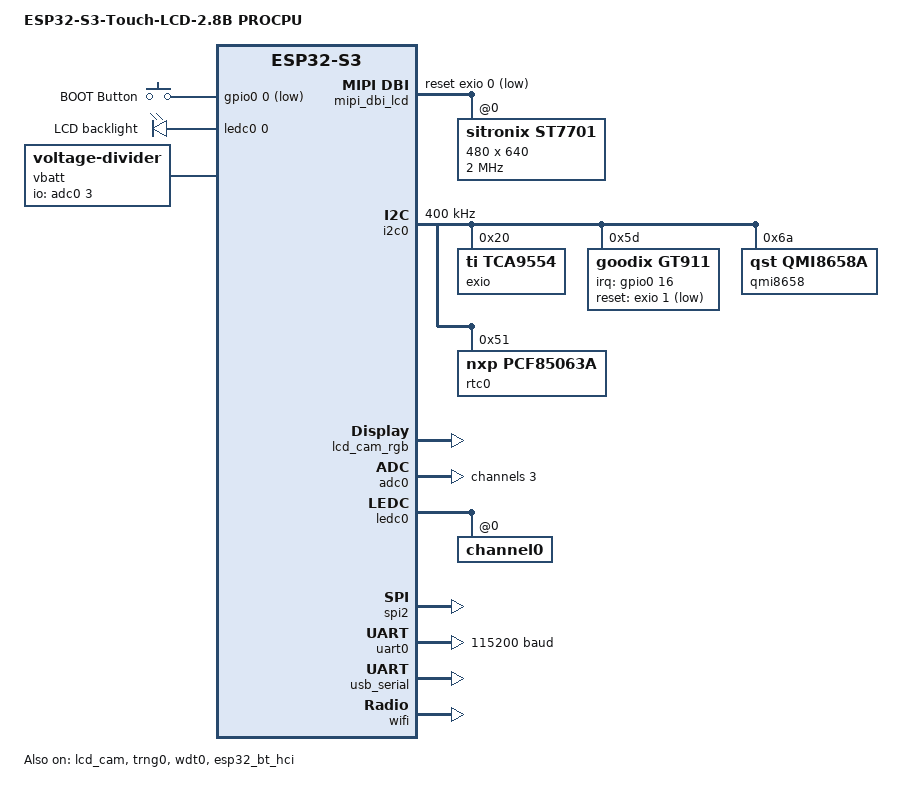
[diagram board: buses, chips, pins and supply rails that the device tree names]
/*
 * SPDX-FileCopyrightText: Copyright The Zephyr Project Contributors
 * SPDX-License-Identifier: Apache-2.0
 */

/dts-v1/;

#include <espressif/esp32s3/esp32s3.dtsi>
#include <zephyr/dt-bindings/adc/adc.h>
#include <zephyr/dt-bindings/battery/battery.h>
#include <zephyr/dt-bindings/display/panel.h>
#include <zephyr/dt-bindings/input/input-event-codes.h>
#include <zephyr/dt-bindings/mipi_dbi/mipi_dbi.h>
#include <zephyr/dt-bindings/pwm/pwm.h>
#include <espressif/partitions_0x0_amp_16M.dtsi>
#include "esp32s3_touch_lcd_2_8b-pinctrl.dtsi"

/ {
	model = "ESP32-S3-Touch-LCD-2.8B PROCPU";
	compatible = "waveshare,esp32-s3-touch-lcd-2.8b";

	aliases {
		accel0 = &qmi8658;
		fuel-gauge0 = &fuel_gauge;
		i2c-0 = &i2c0;
		pwm-0 = &ledc0;
		pwm-lcd0 = &pwm_lcd0;
		rtc = &rtc0;
		sw0 = &button0;
		uart-0 = &uart0;
		watchdog0 = &wdt0;
	};

	chosen {
		zephyr,sram = &sram1;
		zephyr,console = &usb_serial;
		zephyr,shell-uart = &usb_serial;
		zephyr,flash = &flash0;
		zephyr,code-partition = &slot0_partition;
		zephyr,bt-hci = &esp32_bt_hci;
		zephyr,display = &lcd_cam_rgb;
		zephyr,touch = &gt911;
	};

	buttons {
		compatible = "gpio-keys";

		button0: button_0 {
			gpios = <&gpio0 0 (GPIO_PULL_UP | GPIO_ACTIVE_LOW)>;
			label = "BOOT Button";
			zephyr,code = <INPUT_KEY_0>;
		};
	};

	pwmleds {
		compatible = "pwm-leds";

		pwm_lcd0: pwm_lcd0 {
			pwms = <&ledc0 0 PWM_KHZ(20) PWM_POLARITY_NORMAL>;
			label = "LCD backlight";
		};
	};

	vbatt: vbatt {
		compatible = "voltage-divider";
		io-channels = <&adc0 3>;
		output-ohms = <100000>;
		full-ohms = <(200000 + 100000)>;
		skip-calibration; /* ESP32 ADC does not support calibration */
	};

	/*
	 * Enable this node for battery state-of-charge estimation based on the
	 * battery voltage. Adapt the capacity to the battery in use.
	 */
	fuel_gauge: fuel_gauge {
		status = "disabled";
		compatible = "zephyr,fuel-gauge-composite";
		source-primary = <&vbatt>;
		device-chemistry = "lithium-ion-polymer";
		ocv-capacity-table-0 = <BATTERY_OCV_CURVE_LITHIUM_ION_POLYMER_DEFAULT>;
		charge-full-design-microamp-hours = <1000000>;
	};

	/* ST7701S register setup over 3-wire SPI, the pixels go over RGB */
	mipi_dbi_lcd: mipi_dbi_lcd {
		compatible = "zephyr,mipi-dbi-spi";
		spi-dev = <&spi2>;
		reset-gpios = <&exio 0 GPIO_ACTIVE_LOW>;
		write-only;
		#address-cells = <1>;
		#size-cells = <0>;

		st7701: st7701@0 {
			compatible = "sitronix,st7701";
			reg = <0>;
			mipi-max-frequency = <DT_FREQ_M(2)>;
			mipi-mode = "MIPI_DBI_MODE_SPI_3WIRE";
			width = <480>;
			height = <640>;
			pixel-format = <PANEL_PIXEL_FORMAT_RGB_565>;
			bk3-ef = [ef 08];
			lneset = [c0 4f 00];
			porctrl = [c1 10 02];
			invsel = [c2 07 02];
			cc-control = [cc 10];
			pvgamctrl = [b0 00 10 17 0d 11 06 05 08 07 1f 04 11 0e 29 30 1f];
			nvgamctrl = [b1 00 0d 14 0e 11 06 04 08 08 20 05 13 13 26 30 1f];
			vrhs = <0x65>;
			vcom = <0x71>;
			vghss = <0x82>;
			vgls = <0x42>;
			pwctlr1 = <0x85>;
			pwctlr2 = <0x20>;
			bk1-c0 = <0x09>;
			spd1 = <0x78>;
			spd2 = <0x78>;
			mipiset1 = <0x88>;
			bk1-ee = <0x42>;
			gip-e0 = [e0 00 00 02];
			gip-e1 = [e1 04 a0 06 a0 05 a0 07 a0 00 44 44];
			gip-e2 = [e2 00 00 00 00 00 00 00 00 00 00 00 00];
			gip-e3 = [e3 00 00 22 22];
			gip-e4 = [e4 44 44];
			gip-e5 = [e5 0c 90 a0 a0 0e 92 a0 a0 08 8c a0 a0 0a 8e a0 a0];
			gip-e6 = [e6 00 00 22 22];
			gip-e7 = [e7 44 44];
			gip-e8 = [e8 0d 91 a0 a0 0f 93 a0 a0 09 8d a0 a0 0b 8f a0 a0];
			gip-eb = [eb 00 00 e4 e4 44 00 40];
			gip-ed = [ed ff f5 47 6f 0b a1 ab ff ff ba 1a b0 f6 74 5f ff];
			gip-ef = [ef 08 08 08 40 3f 64];
			bk3-e6 = [e6 16 7c];
			bk3-e8 = [e8 00 0e];
		};
	};
};

&flash0 {
	reg = <0x0 DT_SIZE_M(16)>;
	ranges = <0x0 0x0 DT_SIZE_M(16)>;
};

&psram0 {
	size = <DT_SIZE_M(8)>;
};

&gpio0 {
	status = "okay";
};

&gpio1 {
	status = "okay";
};

&i2c0 {
	status = "okay";
	clock-frequency = <I2C_BITRATE_FAST>;
	pinctrl-0 = <&i2c0_default>;
	pinctrl-names = "default";

	/*
	 * P0: LCD reset, P1: touch reset, P2: LCD SPI chip select, P3: unused
	 * (SD card chip select on the schematic, the slot is not fitted),
	 * P4: IMU INT1, P5: IMU INT2, P6: RTC INT, P7: buzzer. The expander INT
	 * output is not connected.
	 */
	exio: gpio@20 {
		compatible = "ti,tca9554";
		reg = <0x20>;
		gpio-controller;
		#gpio-cells = <2>;
		ngpios = <8>;
	};

	gt911: gt911@5d {
		compatible = "goodix,gt911";
		reg = <0x5d>;
		irq-gpios = <&gpio0 16 GPIO_ACTIVE_HIGH>;
		reset-gpios = <&exio 1 GPIO_ACTIVE_LOW>;
	};

	qmi8658: qmi8658@6a {
		compatible = "qst,qmi8658a";
		reg = <0x6a>;
	};

	rtc0: rtc@51 {
		compatible = "nxp,pcf85063a";
		reg = <0x51>;
	};
};

&lcd_cam {
	status = "okay";
	pinctrl-0 = <&lcd_cam_default>;
	pinctrl-names = "default";
};

&lcd_cam_rgb {
	status = "okay";
	width = <480>;
	height = <640>;
	pixel-format = <PANEL_PIXEL_FORMAT_RGB_565>;

	display-timings {
		compatible = "zephyr,panel-timing";
		clock-frequency = <16000000>;
		hsync-len = <10>;
		hback-porch = <70>;
		hfront-porch = <60>;
		vsync-len = <10>;
		vback-porch = <20>;
		vfront-porch = <20>;
		hsync-active = <0>;
		vsync-active = <0>;
		de-active = <1>;
		pixelclk-active = <1>;
	};
};

&dma {
	status = "okay";
};

&adc0 {
	status = "okay";
	#address-cells = <1>;
	#size-cells = <0>;

	channel@3 {
		reg = <3>;
		zephyr,gain = "ADC_GAIN_1_4";
		zephyr,reference = "ADC_REF_INTERNAL";
		zephyr,acquisition-time = <ADC_ACQ_TIME_DEFAULT>;
		zephyr,resolution = <12>;
	};
};

&ledc0 {
	status = "okay";
	pinctrl-0 = <&ledc0_default>;
	pinctrl-names = "default";
	#address-cells = <1>;
	#size-cells = <0>;

	channel0@0 {
		reg = <0x0>;
		timer = <0>;
	};
};

/* LCD panel configuration interface */
&spi2 {
	status = "okay";
	#address-cells = <1>;
	#size-cells = <0>;
	pinctrl-0 = <&spim2_default>;
	pinctrl-names = "default";
	cs-gpios = <&exio 2 GPIO_ACTIVE_LOW>;
};

&uart0 {
	status = "okay";
	current-speed = <115200>;
	pinctrl-0 = <&uart0_default>;
	pinctrl-names = "default";
};

&usb_serial {
	status = "okay";
};

&trng0 {
	status = "okay";
};

&wdt0 {
	status = "okay";
};

&esp32_bt_hci {
	status = "okay";
};

&wifi {
	status = "okay";
};
